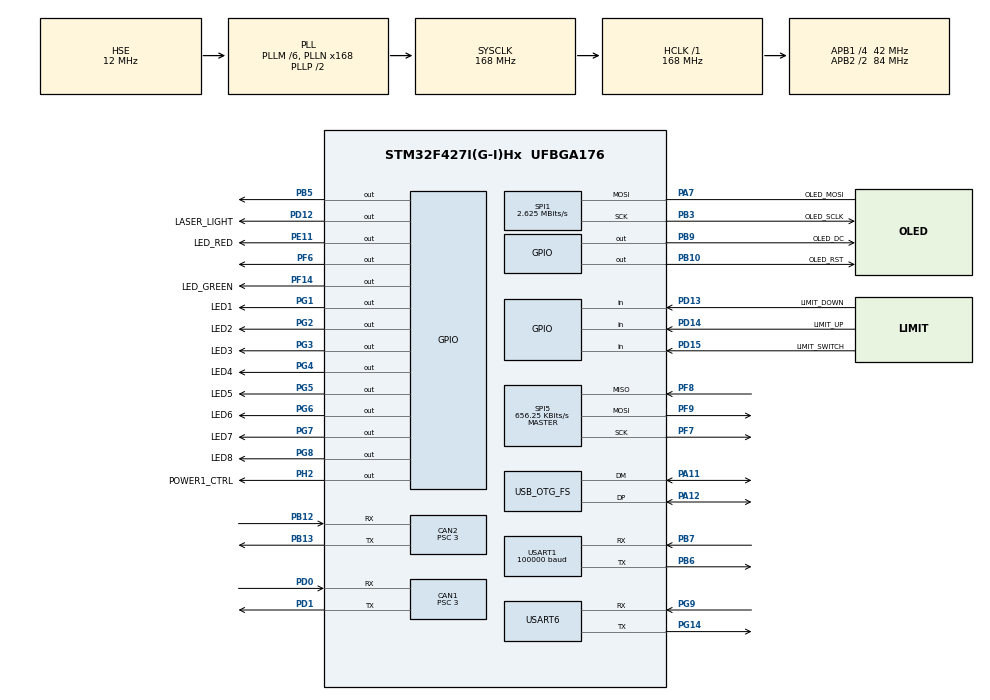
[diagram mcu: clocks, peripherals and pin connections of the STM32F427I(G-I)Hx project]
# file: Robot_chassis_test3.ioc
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CAN1.BS1=CAN_BS1_9TQ
CAN1.BS2=CAN_BS2_4TQ
CAN1.CalculateTimeQuantum=71.42857142857143
CAN1.Prescaler=3
CAN1.SJW=CAN_SJW_1TQ
CAN2.BS1=CAN_BS1_9TQ
CAN2.BS2=CAN_BS2_4TQ
CAN2.CalculateTimeQuantum=71.42857142857143
CAN2.Prescaler=3
Dma.Request0=USART1_RX
Dma.USART1_RX.0.Direction=DMA_PERIPH_TO_MEMORY
Dma.USART1_RX.0.FIFOMode=DMA_FIFOMODE_DISABLE
Dma.USART1_RX.0.Instance=DMA2_Stream2
Dma.USART1_RX.0.MemDataAlignment=DMA_MDATAALIGN_BYTE
Dma.USART1_RX.0.MemInc=DMA_MINC_ENABLE
Dma.USART1_RX.0.Mode=DMA_NORMAL
Dma.USART1_RX.0.PeriphDataAlignment=DMA_PDATAALIGN_BYTE
Dma.USART1_RX.0.PeriphInc=DMA_PINC_DISABLE
Dma.USART1_RX.0.Priority=DMA_PRIORITY_LOW
FREERTOS.Tasks01=vStart_Task,3,128,StartTask,Default,NULL,Dynamic,NULL,NULL;vInitial_Task,0,128,Initial_Task,Default,NULL,Dynamic,NULL,NULL;vChassis_Task,0,128,Chassis_Task,Default,NULL,Dynamic,NULL,NULL;vGimbal_Task,1,128,Gimbal_Task,Default,NULL,Dynamic,NULL,NULL;vProtect_Task,-2,128,Protect_Task,Default,NULL,Dynamic,NULL,NULL;vTask_10ms,2,128,Task_10ms,Default,NULL,Dynamic,NULL,NULL;vOut_Control,3,128,Out_Control,Default,NULL,Dynamic,NULL,NULL;vRevolver_Task,2,128,Revolver_Task,Default,NULL,Dynamic,NULL,NULL;vTest_Task,0,128,Test_Task,Default,NULL,Dynamic,NULL,NULL
FREERTOS.configGENERATE_RUN_TIME_STATS=1
FREERTOS.configUSE_STATS_FORMATTING_FUNCTIONS=1
FREERTOS.configUSE_TRACE_FACILITY=1
Mcu.Family=STM32F4
Mcu.Name=STM32F427I(G-I)Hx
Mcu.Package=UFBGA176
NVIC.CAN1_RX0_IRQn=true\:12\:0\:true\:false\:true\:true\:true\:true
NVIC.CAN1_TX_IRQn=true\:12\:0\:true\:false\:true\:true\:true\:true
NVIC.CAN2_RX0_IRQn=true\:5\:0\:false\:false\:true\:true\:true\:true
NVIC.CAN2_TX_IRQn=true\:5\:0\:false\:false\:true\:true\:true\:true
NVIC.DMA2_Stream2_IRQn=true\:5\:0\:false\:false\:true\:true\:false\:true
NVIC.OTG_FS_IRQn=true\:5\:0\:false\:false\:true\:true\:false\:true
NVIC.PriorityGroup=NVIC_PRIORITYGROUP_4
NVIC.TIM4_IRQn=true\:5\:0\:false\:false\:true\:true\:true\:true
NVIC.USART1_IRQn=true\:6\:0\:true\:false\:true\:true\:true\:true
PA11.Mode=Device_Only
PA11.Signal=USB_OTG_FS_DM
PA12.Mode=Device_Only
PA12.Signal=USB_OTG_FS_DP
PA13.Mode=Serial_Wire
PA13.Signal=SYS_JTMS-SWDIO
PA14.Mode=Serial_Wire
PA14.Signal=SYS_JTCK-SWCLK
PA7.GPIO_Label=OLED_MOSI
PA7.Mode=Simplex_Bidirectional_Master
PA7.Signal=SPI1_MOSI
PB10.GPIO_Label=OLED_RST
PB10.Signal=GPIO_Output
PB12.Mode=Slave
PB12.Signal=CAN2_RX
PB13.Mode=Slave
PB13.Signal=CAN2_TX
PB3.GPIO_Label=OLED_SCLK
PB3.Mode=Simplex_Bidirectional_Master
PB3.Signal=SPI1_SCK
PB5.Signal=GPIO_Output
PB6.Mode=Asynchronous
PB6.Signal=USART1_TX
PB7.Mode=Asynchronous
PB7.Signal=USART1_RX
PB9.GPIO_Label=OLED_DC
PB9.Signal=GPIO_Output
PD0.Mode=Master
PD0.Signal=CAN1_RX
PD1.Mode=Master
PD1.Signal=CAN1_TX
PD12.GPIO_Label=LASER_LIGHT
PD12.Signal=GPIO_Output
PD13.GPIO_Label=LIMIT_DOWN
PD13.Signal=GPIO_Input
PD14.GPIO_Label=LIMIT_UP
PD14.Signal=GPIO_Input
PD15.GPIO_Label=LIMIT_SWITCH
PD15.Signal=GPIO_Input
PE11.GPIO_Label=LED_RED
PE11.Signal=GPIO_Output
PF14.GPIO_Label=LED_GREEN
PF14.Signal=GPIO_Output
PF6.PinState=GPIO_PIN_SET
PF6.Signal=GPIO_Output
PF7.Mode=Full_Duplex_Master
PF7.Signal=SPI5_SCK
PF8.Mode=Full_Duplex_Master
PF8.Signal=SPI5_MISO
PF9.Mode=Full_Duplex_Master
PF9.Signal=SPI5_MOSI
PG1.GPIO_Label=LED1
PG1.PinState=GPIO_PIN_SET
PG1.Signal=GPIO_Output
PG14.Mode=Asynchronous
PG14.Signal=USART6_TX
PG2.GPIO_Label=LED2
PG2.PinState=GPIO_PIN_SET
PG2.Signal=GPIO_Output
PG3.GPIO_Label=LED3
PG3.PinState=GPIO_PIN_SET
PG3.Signal=GPIO_Output
PG4.GPIO_Label=LED4
PG4.PinState=GPIO_PIN_SET
PG4.Signal=GPIO_Output
PG5.GPIO_Label=LED5
PG5.PinState=GPIO_PIN_SET
PG5.Signal=GPIO_Output
PG6.GPIO_Label=LED6
PG6.PinState=GPIO_PIN_SET
PG6.Signal=GPIO_Output
PG7.GPIO_Label=LED7
PG7.PinState=GPIO_PIN_SET
PG7.Signal=GPIO_Output
PG8.GPIO_Label=LED8
PG8.PinState=GPIO_PIN_SET
PG8.Signal=GPIO_Output
PG9.Mode=Asynchronous
PG9.Signal=USART6_RX
PH0/OSC_IN.Mode=HSE-External-Oscillator
PH0/OSC_IN.Signal=RCC_OSC_IN
PH1/OSC_OUT.Mode=HSE-External-Oscillator
PH1/OSC_OUT.Signal=RCC_OSC_OUT
PH2.GPIO_Label=POWER1_CTRL
PH2.Signal=GPIO_Output
ProjectManager.HeapSize=0x2000
ProjectManager.StackSize=0x4000
ProjectManager.TargetToolchain=MDK-ARM V5
RCC.48MHZClocksFreq_Value=48000000
RCC.AHBFreq_Value=168000000
RCC.APB1CLKDivider=RCC_HCLK_DIV4
RCC.APB1Freq_Value=42000000
RCC.APB1TimFreq_Value=84000000
RCC.APB2CLKDivider=RCC_HCLK_DIV2
RCC.APB2Freq_Value=84000000
RCC.APB2TimFreq_Value=168000000
RCC.CortexFreq_Value=168000000
RCC.HCLKFreq_Value=168000000
RCC.HSE_VALUE=12000000
RCC.HSI_VALUE=16000000
RCC.LSE_VALUE=32768
RCC.PLLM=6
RCC.PLLN=168
RCC.PLLQ=7
RCC.SYSCLKFreq_VALUE=168000000
RCC.SYSCLKSource=RCC_SYSCLKSOURCE_PLLCLK
RCC.VCOOutputFreq_Value=336000000
SPI1.BaudRatePrescaler=SPI_BAUDRATEPRESCALER_32
SPI1.CalculateBaudRate=2.625 MBits/s
SPI1.Direction=SPI_DIRECTION_1LINE
SPI1.Mode=SPI_MODE_MASTER
SPI1.VirtualType=VM_MASTER
SPI5.BaudRatePrescaler=SPI_BAUDRATEPRESCALER_128
SPI5.CalculateBaudRate=656.25 KBits/s
SPI5.Direction=SPI_DIRECTION_2LINES
SPI5.Mode=SPI_MODE_MASTER
SPI5.VirtualType=VM_MASTER
TIM4.AutoReloadPreload=TIM_AUTORELOAD_PRELOAD_ENABLE
TIM4.Period=839
TIM4.Prescaler=99
USART1.BaudRate=100000
USART1.VirtualMode=VM_ASYNC
USART6.VirtualMode=VM_ASYNC
USB_DEVICE.CLASS_NAME_FS=CDC
USB_DEVICE.VirtualMode-CDC_FS=Cdc
USB_DEVICE.VirtualModeFS=Cdc_FS
USB_OTG_FS.VirtualMode=Device_Only
VP_FREERTOS_VS_CMSIS_V1.Mode=CMSIS_V1
VP_TIM4_VS_ClockSourceINT.Mode=Internal
VP_USB_DEVICE_VS_USB_DEVICE_CDC_FS.Mode=CDC_FS
board=custom

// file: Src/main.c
/* USER CODE BEGIN Header */
/**
  ******************************************************************************
  * @file           : main.c
  * @brief          : Main program body
  ******************************************************************************
  * @attention
  *
  * <h2><center>&copy; Copyright (c) 2019 STMicroelectronics.
  * All rights reserved.</center></h2>
  *
  * This software component is licensed by ST under Ultimate Liberty license
  * SLA0044, the "License"; You may not use this file except in compliance with
  * the License. You may obtain a copy of the License at:
  *                             www.st.com/SLA0044
  *
  ******************************************************************************
  */
/* USER CODE END Header */

#include "main.h"
#include "cmsis_os.h"
#include "can.h"
#include "dma.h"
#include "spi.h"
#include "tim.h"
#include "usart.h"
#include "usb_device.h"
#include "gpio.h"

void SystemClock_Config(void);
void MX_FREERTOS_Init(void);

int main(void)
{

  /* MCU Configuration--------------------------------------------------------*/

  /* Reset of all peripherals, Initializes the Flash interface and the Systick. */
  HAL_Init();

  /* Configure the system clock */
  SystemClock_Config();

  /* Initialize all configured peripherals */
  MX_GPIO_Init();
  MX_DMA_Init();
  MX_CAN1_Init();
  MX_SPI1_Init();
  MX_USART1_UART_Init();
  MX_USART6_UART_Init();
  MX_SPI5_Init();
  MX_TIM4_Init();
  MX_CAN2_Init();
  /* USER CODE BEGIN 2 */
	can_user_init(&hcan1);															//can设备准备好
	can_user_init(&hcan2);

	HAL_UART_Receive_IT_IDLE(&huart1,UART_Buffer,100);   //启动串口接收

  /* USER CODE END 2 */

  /* Call init function for freertos objects (in freertos.c) */
  MX_FREERTOS_Init();

  /* Start scheduler */
  osKernelStart();

  /* We should never get here as control is now taken by the scheduler */

  /* Infinite loop */
  while (1)
  {

  }
}

void SystemClock_Config(void)
{
  RCC_OscInitTypeDef RCC_OscInitStruct = {0};
  RCC_ClkInitTypeDef RCC_ClkInitStruct = {0};

  /** Configure the main internal regulator output voltage
  */
  __HAL_RCC_PWR_CLK_ENABLE();
  __HAL_PWR_VOLTAGESCALING_CONFIG(PWR_REGULATOR_VOLTAGE_SCALE1);
  /** Initializes the CPU, AHB and APB busses clocks
  */
  RCC_OscInitStruct.OscillatorType = RCC_OSCILLATORTYPE_HSE;
  RCC_OscInitStruct.HSEState = RCC_HSE_ON;
  RCC_OscInitStruct.PLL.PLLState = RCC_PLL_ON;
  RCC_OscInitStruct.PLL.PLLSource = RCC_PLLSOURCE_HSE;
  RCC_OscInitStruct.PLL.PLLM = 6;
  RCC_OscInitStruct.PLL.PLLN = 168;
  RCC_OscInitStruct.PLL.PLLP = RCC_PLLP_DIV2;
  RCC_OscInitStruct.PLL.PLLQ = 7;
  if (HAL_RCC_OscConfig(&RCC_OscInitStruct) != HAL_OK)
  {
    Error_Handler();
  }
  /** Initializes the CPU, AHB and APB busses clocks
  */
  RCC_ClkInitStruct.ClockType = RCC_CLOCKTYPE_HCLK|RCC_CLOCKTYPE_SYSCLK
                              |RCC_CLOCKTYPE_PCLK1|RCC_CLOCKTYPE_PCLK2;
  RCC_ClkInitStruct.SYSCLKSource = RCC_SYSCLKSOURCE_PLLCLK;
  RCC_ClkInitStruct.AHBCLKDivider = RCC_SYSCLK_DIV1;
  RCC_ClkInitStruct.APB1CLKDivider = RCC_HCLK_DIV4;
  RCC_ClkInitStruct.APB2CLKDivider = RCC_HCLK_DIV2;

  if (HAL_RCC_ClockConfig(&RCC_ClkInitStruct, FLASH_LATENCY_5) != HAL_OK)
  {
    Error_Handler();
  }
}

void Error_Handler(void)
{
}

/************************ (C) COPYRIGHT STMicroelectronics *****END OF FILE****/

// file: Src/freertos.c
/* USER CODE BEGIN Header */
/**
  ******************************************************************************
  * File Name          : freertos.c
  * Description        : Code for freertos applications
  ******************************************************************************
  * @attention
  *
  * <h2><center>&copy; Copyright (c) 2019 STMicroelectronics.
  * All rights reserved.</center></h2>
  *
  * This software component is licensed by ST under Ultimate Liberty license
  * SLA0044, the "License"; You may not use this file except in compliance with
  * the License. You may obtain a copy of the License at:
  *                             www.st.com/SLA0044
  *
  ******************************************************************************
  */
/* USER CODE END Header */

#include "FreeRTOS.h"
#include "task.h"
#include "main.h"
#include "cmsis_os.h"

/* USER CODE BEGIN Includes */
#include "Initial_Task.h"

#include "Chassis_Task.h"
#include "Gimbal_Task1.h"
#include "dji_remote.h"
/* USER CODE END Includes */

/* USER CODE BEGIN PTD */
#define SYSTEM_TEST 0 		//测试程序，用来测试各个模块的状态通过0 1来控制
#define SYSTEM_PROTCET 1		//保护程序开启控制0 1控制
/* USER CODE END PTD */

osThreadId vStart_TaskHandle;
osThreadId vInitial_TaskHandle;
osThreadId vChassis_TaskHandle;
osThreadId vGimbal_TaskHandle;
osThreadId vProtect_TaskHandle;
osThreadId vTask_10msHandle;
osThreadId vOut_ControlHandle;
osThreadId vRevolver_TaskHandle;
osThreadId vTest_TaskHandle;

void StartTask(void const * argument);
void Initial_Task(void const * argument);
void Chassis_Task(void const * argument);
void Gimbal_Task(void const * argument);
void Protect_Task(void const * argument);
void Task_10ms(void const * argument);
void Out_Control(void const * argument);
void Revolver_Task(void const * argument);
void Test_Task(void const * argument);

extern void MX_USB_DEVICE_Init(void);
void MX_FREERTOS_Init(void); /* (MISRA C 2004 rule 8.1) */

/* GetIdleTaskMemory prototype (linked to static allocation support) */
void vApplicationGetIdleTaskMemory( StaticTask_t **ppxIdleTaskTCBBuffer, StackType_t **ppxIdleTaskStackBuffer, uint32_t *pulIdleTaskStackSize );

/* Hook prototypes */
void configureTimerForRunTimeStats(void);
unsigned long getRunTimeCounterValue(void);

/* USER CODE BEGIN 1 */
/* Functions needed when configGENERATE_RUN_TIME_STATS is on */
__weak void configureTimerForRunTimeStats(void)
{

}

__weak unsigned long getRunTimeCounterValue(void)
{
	return 0;
}
/* USER CODE END 1 */

/* USER CODE BEGIN GET_IDLE_TASK_MEMORY */
static StaticTask_t xIdleTaskTCBBuffer;
static StackType_t xIdleStack[configMINIMAL_STACK_SIZE];

void vApplicationGetIdleTaskMemory( StaticTask_t **ppxIdleTaskTCBBuffer, StackType_t **ppxIdleTaskStackBuffer, uint32_t *pulIdleTaskStackSize )
{
  *ppxIdleTaskTCBBuffer = &xIdleTaskTCBBuffer;
  *ppxIdleTaskStackBuffer = &xIdleStack[0];
  *pulIdleTaskStackSize = configMINIMAL_STACK_SIZE;
  /* place for user code */
}
/* USER CODE END GET_IDLE_TASK_MEMORY */

void MX_FREERTOS_Init(void) {

  /* Create the thread(s) */
  /* definition and creation of vStart_Task */
  osThreadDef(vStart_Task, StartTask, osPriorityRealtime, 0, 128);
  vStart_TaskHandle = osThreadCreate(osThread(vStart_Task), NULL);
  /* USER CODE BEGIN RTOS_THREADS */
  /* add threads, ... */
	printf("Everything is ready!\nStart to fight!!!!!\n");
  /* USER CODE END RTOS_THREADS */

}

void StartTask(void const * argument)
{

  /* init code for USB_DEVICE */
  MX_USB_DEVICE_Init();

  /* USER CODE BEGIN StartTask */
		portENTER_CRITICAL();
	/************程序测试任务**************/
	#if SYSTEM_TEST
		osThreadDef(vTest_Task, Test_Task, osPriorityNormal, 0, 128);
		vTest_TaskHandle = osThreadCreate(osThread(vTest_Task), NULL);
	#else
	/************初始化任务**************/
		HAL_GPIO_WritePin(GPIOG, LED1_Pin, GPIO_PIN_RESET);
		osThreadDef(vInitial_Task, Initial_Task, osPriorityRealtime, 0, 128);
		vInitial_TaskHandle = osThreadCreate(osThread(vInitial_Task), NULL);
		HAL_GPIO_WritePin(GPIOG, LED1_Pin, GPIO_PIN_SET);

	/************底盘任务****************/
		HAL_GPIO_WritePin(GPIOG, LED2_Pin, GPIO_PIN_RESET);
		osThreadDef(vChassis_Task, Chassis_Task, osPriorityNormal, 0, 128);
		vChassis_TaskHandle = osThreadCreate(osThread(vChassis_Task), NULL);
		HAL_GPIO_WritePin(GPIOG, LED2_Pin, GPIO_PIN_SET);

	/************云台任务****************/
		HAL_GPIO_WritePin(GPIOG, LED3_Pin, GPIO_PIN_RESET);
		osThreadDef(vGimbal_Task, Gimbal_Task, osPriorityAboveNormal, 0, 128);
		vGimbal_TaskHandle = osThreadCreate(osThread(vGimbal_Task), NULL);
		HAL_GPIO_WritePin(GPIOG, LED3_Pin, GPIO_PIN_SET);

	/************拨盘任务****************/
		HAL_GPIO_WritePin(GPIOG, LED4_Pin, GPIO_PIN_RESET);
		osThreadDef(vRevolver_Task, Revolver_Task, osPriorityHigh, 0, 128);
		vRevolver_TaskHandle = osThreadCreate(osThread(vRevolver_Task), NULL);
		HAL_GPIO_WritePin(GPIOG, LED4_Pin, GPIO_PIN_SET);

	/************10ms任务**************/
		HAL_GPIO_WritePin(GPIOG, LED5_Pin, GPIO_PIN_RESET);
		osThreadDef(vTask_10ms, Task_10ms, osPriorityHigh, 0, 128);
		vTask_10msHandle = osThreadCreate(osThread(vTask_10ms), NULL);
		HAL_GPIO_WritePin(GPIOG, LED5_Pin, GPIO_PIN_SET);
	#endif

	#if SYSTEM_PROTCET
	/************任务失控任务**************/
		osThreadDef(vOut_Control, Out_Control, osPriorityHigh, 0, 128);
		vOut_ControlHandle = osThreadCreate(osThread(vOut_Control), NULL);

	/************失控任务控制**************/
		osThreadDef(vProtect_Task, Protect_Task, osPriorityLow, 0, 128);
		vProtect_TaskHandle = osThreadCreate(osThread(vProtect_Task), NULL);
	#endif

	vTaskDelete(vStart_TaskHandle); //删除开始任务
  portEXIT_CRITICAL();
  /* Infinite loop */
  for(;;)
  {
    osDelay(1);
  }
  /* USER CODE END StartTask */
}
void Protect_Task(void const * argument)
{
  /* USER CODE BEGIN Protect_Task */
	static portTickType System_Current_Time;
  /* Infinite loop */
  for(;;)
  {
		System_Current_Time = xTaskGetTickCount();	//获取当前系统时间
//		printf("%d %d \n",System_Current_Time,Latest_Remote_Control_Pack_Time);//系统获取时间调试
		if(System_Current_Time - Latest_Remote_Control_Pack_Time >50)//接收机离线50ms
		{
			vTaskSuspend(vChassis_TaskHandle);		//将任务挂起
			vTaskSuspend(vGimbal_TaskHandle);
			vTaskSuspend(vRevolver_TaskHandle);
			vTaskSuspend(vTask_10msHandle);

			vTaskResume(vOut_ControlHandle);//解挂失控保护控制任务
//			HAL_GPIO_WritePin(GPIOG, LED6_Pin, GPIO_PIN_SET);
		}
		else
		{
			vTaskResume(vChassis_TaskHandle);		//恢复任务
			vTaskResume(vGimbal_TaskHandle);
			vTaskResume(vRevolver_TaskHandle);
			vTaskResume(vTask_10msHandle);

			vTaskSuspend(vOut_ControlHandle);//挂起失控保护控制任务
//			HAL_GPIO_WritePin(GPIOG, LED6_Pin, GPIO_PIN_RESET);
		}
    osDelayUntil (&System_Current_Time,50);     //绝对延时50ms
  }

  /* USER CODE END Protect_Task */
}

void Task_10ms(void const * argument)
{
  for(;;)
  {
    osDelay(1);
  }
}

void Out_Control(void const * argument)
{
  for(;;)
  {
    osDelay(1);
  }
}

/************************ (C) COPYRIGHT STMicroelectronics *****END OF FILE****/
